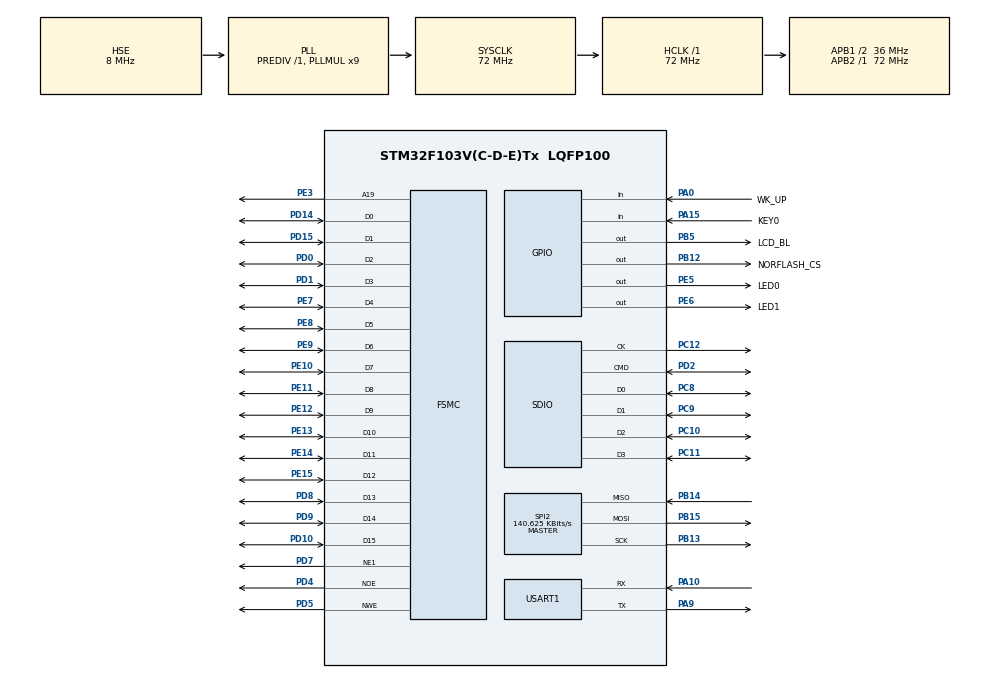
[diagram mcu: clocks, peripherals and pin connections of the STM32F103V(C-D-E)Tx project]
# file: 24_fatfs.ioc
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FATFS._CODE_PAGE=437
FATFS._USE_LABEL=1
FATFS._USE_LFN=3
FATFS._VOLUMES=2
FSMC.AddressSetupTime1=0
FSMC.DataSetupTime1=15
FSMC.ExtendedAddressSetupTime1=0
FSMC.ExtendedDataSetupTime1=1
FSMC.ExtendedMode1=FSMC_EXTENDED_MODE_ENABLE
Mcu.Family=STM32F1
Mcu.Name=STM32F103V(C-D-E)Tx
Mcu.Package=LQFP100
NVIC.PriorityGroup=NVIC_PRIORITYGROUP_2
NVIC.TIM4_IRQn=true\:2\:1\:true\:false\:true\:true\:true\:true
NVIC.USART1_IRQn=true\:2\:2\:true\:false\:true\:true\:true\:true
OSC_IN.Mode=HSE-External-Oscillator
OSC_IN.Signal=RCC_OSC_IN
OSC_OUT.Mode=HSE-External-Oscillator
OSC_OUT.Signal=RCC_OSC_OUT
PA0-WKUP.GPIO_Label=WK_UP
PA0-WKUP.GPIO_PuPd=GPIO_PULLDOWN
PA0-WKUP.Signal=GPIO_Input
PA10.Mode=Asynchronous
PA10.Signal=USART1_RX
PA13.Mode=Serial_Wire
PA13.Signal=SYS_JTMS-SWDIO
PA14.Mode=Serial_Wire
PA14.Signal=SYS_JTCK-SWCLK
PA15.GPIO_Label=KEY0
PA15.GPIO_PuPd=GPIO_PULLDOWN
PA15.Signal=GPIO_Input
PA9.Mode=Asynchronous
PA9.Signal=USART1_TX
PB12.GPIO_Label=NORFLASH_CS
PB12.GPIO_PuPd=GPIO_PULLUP
PB12.GPIO_Speed=GPIO_SPEED_FREQ_HIGH
PB12.PinState=GPIO_PIN_SET
PB12.Signal=GPIO_Output
PB13.Mode=Full_Duplex_Master
PB13.Signal=SPI2_SCK
PB14.Mode=Full_Duplex_Master
PB14.Signal=SPI2_MISO
PB15.Mode=Full_Duplex_Master
PB15.Signal=SPI2_MOSI
PB5.GPIO_Label=LCD_BL
PB5.GPIO_PuPd=GPIO_PULLUP
PB5.GPIO_Speed=GPIO_SPEED_FREQ_HIGH
PB5.PinState=GPIO_PIN_SET
PB5.Signal=GPIO_Output
PC10.Mode=SD_4_bits_Wide_bus
PC10.Signal=SDIO_D2
PC11.Mode=SD_4_bits_Wide_bus
PC11.Signal=SDIO_D3
PC12.Mode=SD_4_bits_Wide_bus
PC12.Signal=SDIO_CK
PC14-OSC32_IN.Mode=LSE-External-Oscillator
PC14-OSC32_IN.Signal=RCC_OSC32_IN
PC15-OSC32_OUT.Mode=LSE-External-Oscillator
PC15-OSC32_OUT.Signal=RCC_OSC32_OUT
PC8.Mode=SD_4_bits_Wide_bus
PC8.Signal=SDIO_D0
PC9.Mode=SD_4_bits_Wide_bus
PC9.Signal=SDIO_D1
PD0.Mode=16b-d1
PD0.Signal=FSMC_D2
PD1.Mode=16b-d1
PD1.Signal=FSMC_D3
PD10.Mode=16b-d1
PD10.Signal=FSMC_D15
PD14.Mode=16b-d1
PD14.Signal=FSMC_D0
PD15.Mode=16b-d1
PD15.Signal=FSMC_D1
PD2.Mode=SD_4_bits_Wide_bus
PD2.Signal=SDIO_CMD
PD4.Mode=Lcd1
PD4.Signal=FSMC_NOE
PD5.Mode=Lcd1
PD5.Signal=FSMC_NWE
PD7.Mode=NorPsramChipSelect1_1
PD7.Signal=FSMC_NE1
PD8.Mode=16b-d1
PD8.Signal=FSMC_D13
PD9.Mode=16b-d1
PD9.Signal=FSMC_D14
PE10.Mode=16b-d1
PE10.Signal=FSMC_D7
PE11.Mode=16b-d1
PE11.Signal=FSMC_D8
PE12.Mode=16b-d1
PE12.Signal=FSMC_D9
PE13.Mode=16b-d1
PE13.Signal=FSMC_D10
PE14.Mode=16b-d1
PE14.Signal=FSMC_D11
PE15.Mode=16b-d1
PE15.Signal=FSMC_D12
PE3.Mode=A19_1
PE3.Signal=FSMC_A19
PE5.GPIO_Label=LED0
PE5.GPIO_PuPd=GPIO_PULLUP
PE5.GPIO_Speed=GPIO_SPEED_FREQ_HIGH
PE5.PinState=GPIO_PIN_SET
PE5.Signal=GPIO_Output
PE6.GPIO_Label=LED1
PE6.GPIO_PuPd=GPIO_PULLUP
PE6.GPIO_Speed=GPIO_SPEED_FREQ_HIGH
PE6.PinState=GPIO_PIN_SET
PE6.Signal=GPIO_Output
PE7.Mode=16b-d1
PE7.Signal=FSMC_D4
PE8.Mode=16b-d1
PE8.Signal=FSMC_D5
PE9.Mode=16b-d1
PE9.Signal=FSMC_D6
ProjectManager.HeapSize=0x1000
ProjectManager.StackSize=0x400
ProjectManager.TargetToolchain=STM32CubeIDE
RCC.AHBFreq_Value=72000000
RCC.APB1CLKDivider=RCC_HCLK_DIV2
RCC.APB1Freq_Value=36000000
RCC.APB1TimFreq_Value=72000000
RCC.APB2Freq_Value=72000000
RCC.APB2TimFreq_Value=72000000
RCC.HCLKFreq_Value=72000000
RCC.PLLMUL=RCC_PLL_MUL9
RCC.PLLSourceVirtual=RCC_PLLSOURCE_HSE
RCC.SYSCLKFreq_VALUE=72000000
RCC.SYSCLKSource=RCC_SYSCLKSOURCE_PLLCLK
RCC.USBFreq_Value=72000000
SDIO.ClockDiv=0x06
SDIO.HardwareFlowControl=SDIO_HARDWARE_FLOW_CONTROL_ENABLE
SPI2.BaudRatePrescaler=SPI_BAUDRATEPRESCALER_256
SPI2.CLKPhase=SPI_PHASE_2EDGE
SPI2.CLKPolarity=SPI_POLARITY_HIGH
SPI2.CalculateBaudRate=140.625 KBits/s
SPI2.Direction=SPI_DIRECTION_2LINES
SPI2.Mode=SPI_MODE_MASTER
SPI2.VirtualType=VM_MASTER
TIM4.AutoReloadPreload=TIM_AUTORELOAD_PRELOAD_ENABLE
TIM4.Period=1000-1
TIM4.Prescaler=7200-1
USART1.VirtualMode=VM_ASYNC
VP_FATFS_VS_Generic.Mode=User_defined
VP_TIM4_VS_ClockSourceINT.Mode=Internal
board=custom

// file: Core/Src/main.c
/* USER CODE BEGIN Header */
/**
 ****************************************************************************************************
 * @file        main.c
 * @author      ALIENTEK
 * @brief       fatfs code
 * @license     Copyright (C) 2012-2024, ALIENTEK
 ****************************************************************************************************
 * @attention
 *
 * platform     : ALIENTEK M100-STM32F103 board
 * website      : www.alientek.com
 * forum        : www.openedv.com/forum.php
 *
 * change logs  :
 * version      data         notes
 * V1.0         20240409     the first version
 *
 ****************************************************************************************************
 */
/* USER CODE END Header */
#include "main.h"
#include "fatfs.h"
#include "sdio.h"
#include "spi.h"
#include "tim.h"
#include "usart.h"
#include "gpio.h"
#include "fsmc.h"

/* USER CODE BEGIN Includes */
#include "../../ATK_Middlewares/MALLOC/malloc.h"
#include "../../BSP/LED/led.h"
#include "../../BSP/KEY/key.h"
#include "../../BSP/LCD/lcd.h"
#include "../../FatFs/exfuns/exfuns.h"
#include "ff.h"
/* USER CODE END Includes */

/* USER CODE BEGIN PTD */
extern uint8_t g_sd_error;
/* USER CODE END PTD */

/* USER CODE BEGIN PD */
uint8_t read_buf[50] = {0};
uint8_t write_buf[50] = "Hello test demo";
/* USER CODE END PD */

void SystemClock_Config(void);

/* USER CODE BEGIN 0 */
/**
 * @brief   Displays information about the experiment
 * @param   None
 * @retval  None
 */
void stm32f103ve_show_mesg(void)
{
	/* The serial port outputs the experimental information */
	printf("\n");
	printf("********************************\r\n");
	printf("STM32F103\r\n");
	printf("FATFS Test\r\n");
	printf("ATOM@ALIENTEK\r\n");
	printf("********************************\r\n");
	printf("\r\n");
}
/* USER CODE END 0 */

int main(void)
{
  /* USER CODE BEGIN 1 */
  FRESULT res;
  uint8_t t = 0, key = 0;
  uint32_t total;
  UINT bw = 0, br = 0;
  uint32_t free;
  FIL *f_fil;
  /* USER CODE END 1 */

  /* MCU Configuration--------------------------------------------------------*/

  /* Reset of all peripherals, Initializes the Flash interface and the Systick. */
  HAL_Init();

  /* Configure the system clock */
  SystemClock_Config();

  /* Initialize all configured peripherals */
  MX_GPIO_Init();
  MX_USART1_UART_Init();
  MX_FSMC_Init();
  MX_TIM4_Init();
  MX_SDIO_SD_Init();
  MX_SPI2_Init();
  MX_FATFS_Init();
  /* USER CODE BEGIN 2 */
  lcd_init();                         /* Initialize LCD */
  my_mem_init(SRAMIN);                /* Initialize the internal SRAM memory pool */
  stm32f103ve_show_mesg();
  lcd_show_string(30, 50, 200, 16, 16, "STM32", RED);
  lcd_show_string(30, 70, 200, 16, 16, "FATFS TEST", RED);
  lcd_show_string(30, 90, 200, 16, 16, "ATOM@ALIENTEK", RED);
  lcd_show_string(30, 110, 200, 16, 16, "Use USMART for test", RED);

  while (g_sd_error == 1)
  {
     g_sd_error = 0;
     MX_SDIO_SD_Init();
     lcd_show_string(30, 130, 200, 16, 16, "SD Card Error!", RED);
     HAL_Delay(500);
     lcd_show_string(30, 130, 200, 16, 16, "Please Check! ", RED);
     HAL_Delay(500);
     LED1_TOGGLE();
  }

  exfuns_init();

  /* mount SD card */
  f_mount(fs[0], "0:", 1);

  /* mount NOR Flash, if NOR Flash does not have a file system, it needs to be formatted */
  res = f_mount(fs[1], "1:", 1);
  if (res == FR_NO_FILESYSTEM)
  {
    lcd_show_string(30, 130, 200, 16, 16, "Flash Disk Formatting...", RED);
    res = f_mkfs("1:", 0, _MAX_SS);
    if (res == FR_OK)
    {
      f_setlabel((const TCHAR *)"1:ALIENTEK");
      lcd_show_string(30, 130, 200, 16, 16, "Flash Disk Format Finish", RED);
    }
    else
    {
      lcd_show_string(30, 130, 200, 16, 16, "Flash Disk Format Error ", RED);
    }
    HAL_Delay(1000);
  }
  lcd_fill(30, 130, 239, 145, WHITE);

  /* Gets the SD card capacity */
  while (exfuns_get_free("0", &total, &free) != 0)
  {
    lcd_show_string(30, 130, 200, 16, 16, "SD Card FatFs Error!", RED);
    HAL_Delay(200);
    lcd_fill(30, 130, 240, 150 + 16, WHITE);
    HAL_Delay(200);
    LED1_TOGGLE();
  }

  lcd_show_string(30, 130, 200, 16, 16, "FATFS OK!", BLUE);
  lcd_show_string(30, 150, 200, 16, 16, "SD Total Size:     MB", BLUE);
  lcd_show_string(30, 170, 200, 16, 16, "SD Free Size:     MB", BLUE);
  lcd_show_num(142, 150, total >> 10, 5, 16, BLUE);
  lcd_show_num(134, 170, free >> 10, 5, 16, BLUE);

  f_fil = (FIL *)mymalloc(SRAMIN, sizeof(f_fil));        /* Request memory for file */
  if (f_fil == NULL)                                     /* Memory request failed */
  {
     myfree(SRAMIN, f_fil);
  }
  printf("The file system was mounted successfully\r\n");
  printf("************ A file read and write test is coming ************\r\n");
  /* USER CODE END 2 */

  /* Infinite loop */
  /* USER CODE BEGIN WHILE */
  while (1)
  {
  /*------------------- Filesystem tests: read and write tests ---------------------*/
  key = key_scan(0);
  if(key == WKUP_PRES)
  {
    res = f_open(f_fil, "1:test.txt", FA_OPEN_ALWAYS | FA_WRITE | FA_READ);/* Open the file and create a new file if there is no file */
    if(res == FR_OK)
    {
      f_lseek (f_fil, 0);			/* Offset writes data to the initial location */
      res = f_write(f_fil, write_buf, sizeof(write_buf), &bw);
      if(res == FR_OK)
      {
        printf("Data written successfully!!\r\n");
        lcd_show_string(30, 190, 200, 16, 16, "write OK", BLUE);
      }
    }
    else
    {
      lcd_show_string(30, 190, 200, 16, 16, "read and write Error", BLUE);
    }
  }
  else if (key == KEY0_PRES)
  {
    f_lseek (f_fil, 0);				/* Offset to the initial position to read the data */
    res = f_read(f_fil, read_buf, sizeof(read_buf), &br);
    lcd_show_string(30, 210, 200, 16, 16, (char *)read_buf, BLUE);
    printf("The data bits read: %s\r\n", read_buf);
    printf("Reading byte data: %d\r\n", br);
    f_close(f_fil);
  }

  t++;
  if (t % 20 == 0)
  {
    LED0_TOGGLE();  /* flashing LED0 indicates that the system is running */
  }

  HAL_Delay(10);    /* delay 10ms */
    /* USER CODE END WHILE */

  }
}

void SystemClock_Config(void)
{
  RCC_OscInitTypeDef RCC_OscInitStruct = {0};
  RCC_ClkInitTypeDef RCC_ClkInitStruct = {0};

  /** Initializes the RCC Oscillators according to the specified parameters
  * in the RCC_OscInitTypeDef structure.
  */
  RCC_OscInitStruct.OscillatorType = RCC_OSCILLATORTYPE_HSE;
  RCC_OscInitStruct.HSEState = RCC_HSE_ON;
  RCC_OscInitStruct.HSEPredivValue = RCC_HSE_PREDIV_DIV1;
  RCC_OscInitStruct.HSIState = RCC_HSI_ON;
  RCC_OscInitStruct.PLL.PLLState = RCC_PLL_ON;
  RCC_OscInitStruct.PLL.PLLSource = RCC_PLLSOURCE_HSE;
  RCC_OscInitStruct.PLL.PLLMUL = RCC_PLL_MUL9;
  if (HAL_RCC_OscConfig(&RCC_OscInitStruct) != HAL_OK)
  {
    Error_Handler();
  }

  /** Initializes the CPU, AHB and APB buses clocks
  */
  RCC_ClkInitStruct.ClockType = RCC_CLOCKTYPE_HCLK|RCC_CLOCKTYPE_SYSCLK
                              |RCC_CLOCKTYPE_PCLK1|RCC_CLOCKTYPE_PCLK2;
  RCC_ClkInitStruct.SYSCLKSource = RCC_SYSCLKSOURCE_PLLCLK;
  RCC_ClkInitStruct.AHBCLKDivider = RCC_SYSCLK_DIV1;
  RCC_ClkInitStruct.APB1CLKDivider = RCC_HCLK_DIV2;
  RCC_ClkInitStruct.APB2CLKDivider = RCC_HCLK_DIV1;

  if (HAL_RCC_ClockConfig(&RCC_ClkInitStruct, FLASH_LATENCY_2) != HAL_OK)
  {
    Error_Handler();
  }
}

void Error_Handler(void)
{
  __disable_irq();
  while (1)
  {
  }
}
